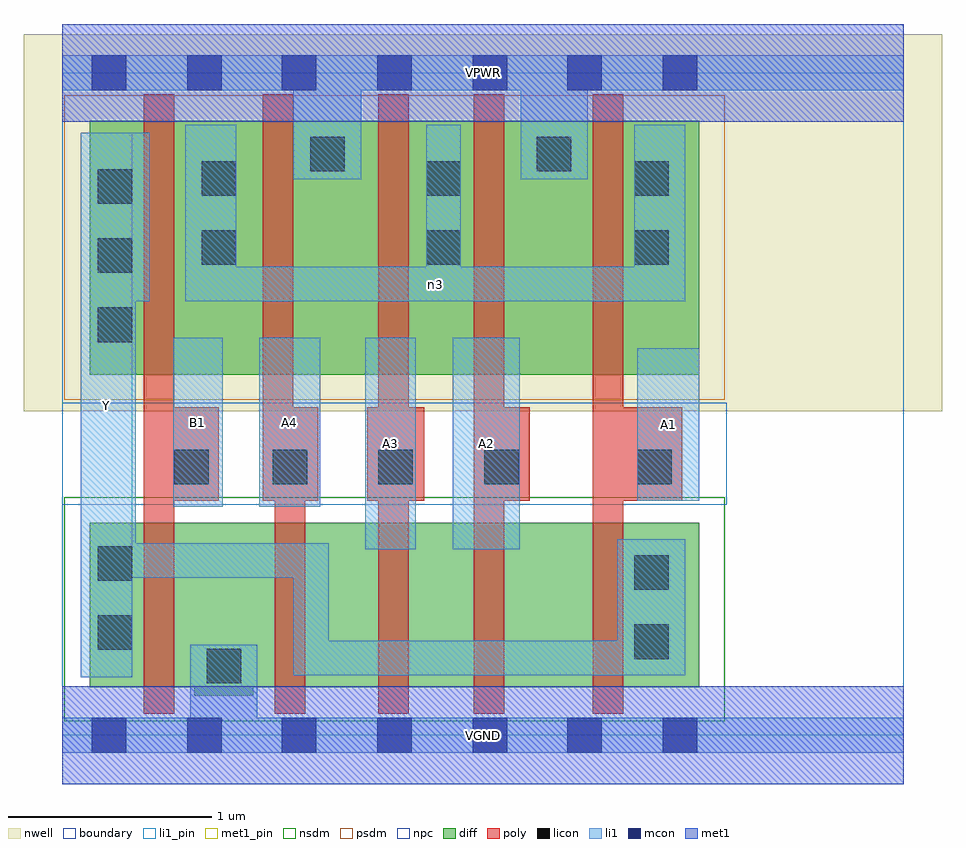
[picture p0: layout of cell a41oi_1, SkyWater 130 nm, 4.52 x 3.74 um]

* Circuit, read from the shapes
.subckt a41oi_1 A1 A2 A3 A4 B1 VGND VPWR Y n3
XM1 VGND B1 Y VSUBS sky130_fd_pr__nfet_01v8 w=0.81 l=0.15
XM2 n1 A4 VGND VSUBS sky130_fd_pr__nfet_01v8 w=0.81 l=0.15
XM3 n2 A3 n1 VSUBS sky130_fd_pr__nfet_01v8 w=0.81 l=0.15
XM4 n4 A2 n2 VSUBS sky130_fd_pr__nfet_01v8 w=0.81 l=0.15
XM5 Y A1 n4 VSUBS sky130_fd_pr__nfet_01v8 w=0.81 l=0.15
XM6 n3 B1 Y n5 sky130_fd_pr__pfet_01v8 w=1.25 l=0.15
XM7 VPWR A4 n3 n5 sky130_fd_pr__pfet_01v8 w=1.25 l=0.15
XM8 n3 A3 VPWR n5 sky130_fd_pr__pfet_01v8 w=1.25 l=0.15
XM9 VPWR A2 n3 n5 sky130_fd_pr__pfet_01v8 w=1.25 l=0.15
XM10 n3 A1 VPWR n5 sky130_fd_pr__pfet_01v8 w=1.25 l=0.15
.ends

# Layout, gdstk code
import gdstk
lib = gdstk.Library(unit=1e-6, precision=1e-09)
def R(c, l, rs):  # rectangles x0, y0, x1, y1
    for r in rs: c.add(gdstk.rectangle(r[:2], r[2:], *l))
def A(c, l, x, y, w, h, nx, ny, dx, dy):  # array of equal rectangles
    R(c, l, [(x+i*dx, y+j*dy, x+i*dx+w, y+j*dy+h) for i in range(nx) for j in range(ny)])
nwell = (64, 20)
diff = (65, 20)
poly = (66, 20)
licon = (66, 44)
li1_pin = (67, 16)
li1 = (67, 20)
mcon = (67, 44)
met1_pin = (68, 16)
met1 = (68, 20)
nsdm = (93, 44)
psdm = (94, 20)
npc = (95, 20)
boundary = (235, 4)

a41oi_1 = lib.new_cell('a41oi_1')
R(a41oi_1, nwell, [(-0.19,1.595,4.33,3.45), (0,1.595,4.14,3.45)])
R(a41oi_1, diff, [(0.65,0.195,0.94,1.045), (0.135,0.235,3.135,1.045), (0.135,1.775,3.135,3.025)])
R(a41oi_1, poly, [(0.4,0.105,0.55,3.155), (1.045,0.105,1.195,1.615), (1.555,0.105,1.705,3.155), (2.025,0.105,2.175,3.155), (2.61,0.105,2.76,3.155), (0.4,1.155,0.77,1.615), (0.985,1.155,1.135,3.155), (0.985,1.155,1.26,1.615), (1.5,1.155,1.78,1.615), (2.025,1.155,2.3,1.615), (2.61,1.155,3.05,1.615)])
A(a41oi_1, licon, 1.035, 1.235, 0.17, 0.17, 3, 1, 0.52, 0)
A(a41oi_1, licon, 0.175, 1.935, 0.17, 0.17, 1, 3, 0, 0.34)
R(a41oi_1, licon, [(0.71,0.255,0.88,0.425), (2.815,0.375,2.985,0.545), (0.175,0.42,0.345,0.59), (2.815,0.715,2.985,0.885), (0.175,0.76,0.345,0.93), (0.55,1.235,0.72,1.405), (2.83,1.235,3,1.405), (0.685,2.315,0.855,2.485), (1.79,2.315,1.96,2.485), (2.815,2.315,2.985,2.485), (0.685,2.655,0.855,2.825), (1.79,2.655,1.96,2.825), (2.815,2.655,2.985,2.825), (1.22,2.775,1.39,2.945), (2.335,2.775,2.505,2.945)])
R(a41oi_1, li1_pin, [(0.09,0.285,0.345,2.965), (1.49,0.915,1.74,1.955), (1.92,0.915,2.25,1.955), (0.545,1.125,0.79,1.955), (0.97,1.125,1.27,1.955), (2.83,1.155,3.135,1.905)])
R(a41oi_1, li1, [(0,-0.085,4.14,0.085), (0.63,-0.085,0.96,0.445), (0.09,0.285,0.345,2.965), (1.135,0.295,3.065,0.465), (1.135,0.295,1.31,0.945), (2.73,0.295,3.065,0.965), (0.09,0.775,1.31,0.945), (0.09,0.775,0.36,2.965), (1.49,0.915,1.74,1.955), (1.92,0.915,2.25,1.955), (0.545,1.125,0.79,1.955), (0.97,1.125,1.27,1.955), (2.83,1.155,3.135,1.905), (0.09,2.135,0.43,2.965), (0.605,2.135,3.065,2.305), (0.605,2.135,0.855,3.005), (1.79,2.135,1.96,3.005), (2.815,2.135,3.065,3.005), (1.135,2.735,1.47,3.345), (2.255,2.735,2.585,3.345), (0,3.175,4.14,3.345)])
A(a41oi_1, mcon, 1.08, -0.085, 0.17, 0.17, 3, 2, 0.47, 3.26)
R(a41oi_1, mcon, [(0.145,-0.085,0.315,0.085), (0.615,-0.085,0.785,0.085), (2.485,-0.085,2.655,0.085), (2.955,-0.085,3.125,0.085), (0.145,3.175,0.315,3.345), (0.615,3.175,0.785,3.345), (2.485,3.175,2.655,3.345), (2.955,3.175,3.125,3.345)])
R(a41oi_1, met1_pin, [(0,-0.24,4.14,0.24), (0,3.02,4.14,3.5)])
R(a41oi_1, met1, [(0,-0.24,4.14,0.24), (0,3.02,4.14,3.5)])
R(a41oi_1, nsdm, [(0.01,0.07,3.26,1.17)])
R(a41oi_1, psdm, [(0.01,1.65,3.26,3.15)])
R(a41oi_1, npc, [(0,1.135,3.27,1.635)])
R(a41oi_1, boundary, [(0,0,4.14,3.26)])
a41oi_1.add(gdstk.Label('A1', (2.982,1.53), layer=67, texttype=5))
a41oi_1.add(gdstk.Label('A2', (2.085,1.435), layer=67, texttype=5))
a41oi_1.add(gdstk.Label('A3', (1.615,1.435), layer=67, texttype=5))
a41oi_1.add(gdstk.Label('A4', (1.12,1.54), layer=67, texttype=5))
a41oi_1.add(gdstk.Label('B1', (0.667,1.54), layer=67, texttype=5))
a41oi_1.add(gdstk.Label('Y', (0.217,1.625), layer=67, texttype=5))
a41oi_1.add(gdstk.Label('n3', (1.835,2.22), layer=67, texttype=5))
a41oi_1.add(gdstk.Label('VPWR', (2.07,3.26), layer=68, texttype=5))
a41oi_1.add(gdstk.Label('VGND', (2.07,0), layer=68, texttype=5))
a41oi_1.add(gdstk.Label('A1', (2.982,1.53), layer=67, texttype=16))
a41oi_1.add(gdstk.Label('A2', (2.085,1.435), layer=67, texttype=16))
a41oi_1.add(gdstk.Label('A3', (1.615,1.435), layer=67, texttype=16))
a41oi_1.add(gdstk.Label('A4', (1.12,1.54), layer=67, texttype=16))
a41oi_1.add(gdstk.Label('B1', (0.667,1.54), layer=67, texttype=16))
a41oi_1.add(gdstk.Label('Y', (0.217,1.625), layer=67, texttype=16))
a41oi_1.add(gdstk.Label('VPWR', (2.07,3.26), layer=68, texttype=16))
a41oi_1.add(gdstk.Label('VGND', (2.07,0), layer=68, texttype=16))

lib.write_gds('a41oi_1.gds')
